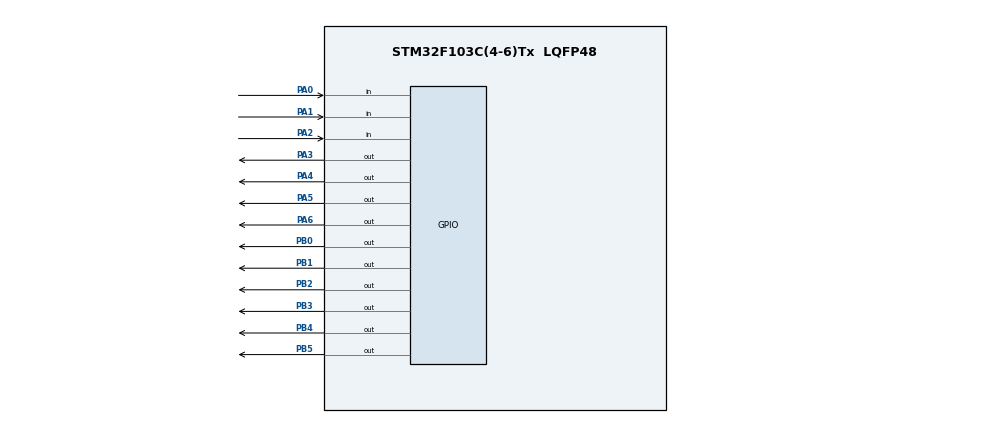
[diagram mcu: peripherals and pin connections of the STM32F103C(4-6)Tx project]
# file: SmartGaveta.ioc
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Mcu.Family=STM32F1
Mcu.Name=STM32F103C(4-6)Tx
Mcu.Package=LQFP48
NVIC.PriorityGroup=NVIC_PRIORITYGROUP_4
PA0-WKUP.GPIO_PuPd=GPIO_PULLDOWN
PA0-WKUP.Signal=GPIO_Input
PA1.GPIO_PuPd=GPIO_PULLDOWN
PA1.Signal=GPIO_Input
PA2.GPIO_PuPd=GPIO_PULLDOWN
PA2.Signal=GPIO_Input
PA3.Signal=GPIO_Output
PA4.Signal=GPIO_Output
PA5.Signal=GPIO_Output
PA6.Signal=GPIO_Output
PB0.Signal=GPIO_Output
PB1.Signal=GPIO_Output
PB2.Signal=GPIO_Output
PB3.Signal=GPIO_Output
PB4.Signal=GPIO_Output
PB5.Signal=GPIO_Output
ProjectManager.HeapSize=0x200
ProjectManager.StackSize=0x400
ProjectManager.TargetToolchain=STM32CubeIDE
RCC.APB1Freq_Value=8000000
RCC.APB2Freq_Value=8000000
VP_SYS_VS_ND.Mode=No_Debug
board=custom

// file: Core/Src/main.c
/* USER CODE BEGIN Header */
/**
 ******************************************************************************
 * @file           : main.c
 * @brief          : Main program body
 ******************************************************************************
 * @attention
 *
 * <h2><center>&copy; Copyright (c) 2021 STMicroelectronics.
 * All rights reserved.</center></h2>
 *
 * This software component is licensed by ST under BSD 3-Clause license,
 * the "License"; You may not use this file except in compliance with the
 * License. You may obtain a copy of the License at:
 *                        opensource.org/licenses/BSD-3-Clause
 *
 ******************************************************************************
 */
/* USER CODE END Header */
#include "main.h"

/* USER CODE BEGIN Includes */
#include <string.h>
/* USER CODE END Includes */

void SystemClock_Config(void);
static void MX_GPIO_Init(void);

/* USER CODE BEGIN 0 */
char nome_objeto[25];
char objetos[16][25];
int objetos_referencia[16];
char entrada_pergunta = 'p';

int readBit(unsigned char x, int bit) {
	unsigned char mask = (0x01 << bit);
	if ((x & mask) == 0x00) {
		return 0;
	} else {
		return 1;
	}
}

void setABCD(int x) {
	HAL_GPIO_WritePin(GPIOB_BASE, GPIO_PIN_0, readBit(x, 0));
	HAL_GPIO_WritePin(GPIOB_BASE, GPIO_PIN_1, readBit(x, 1));
	HAL_GPIO_WritePin(GPIOB_BASE, GPIO_PIN_2, readBit(x, 2));
	HAL_GPIO_WritePin(GPIOB_BASE, GPIO_PIN_3, readBit(x, 3));
}

void setABteclado(int x) {
	HAL_GPIO_WritePin(GPIOA_BASE, GPIO_PIN_4, readBit(x, 0));
	HAL_GPIO_WritePin(GPIOA_BASE, GPIO_PIN_5, readBit(x, 1));
}

void guardar_objeto(char *x, int pos) {
	strcpy(objetos[pos], x);
	objetos_referencia[pos] = 1;
}

void retirar_objeto(int pos) {
	memset(objetos[pos], 0, strlen(objetos[0]));
	objetos_referencia[pos] = 0;
}

void mostrar_posicoes_disponiveis() {
	for (int i = 0; i < 16; i++) {
		if (objetos_referencia[i] == 0) {
			HAL_GPIO_WritePin(GPIOB_BASE, GPIO_PIN_5, GPIO_PIN_SET);
			setABCD(i);
			HAL_Delay(100);
			HAL_GPIO_WritePin(GPIOB_BASE, GPIO_PIN_5, GPIO_PIN_RESET);
		}
	}

}

void atualizar_objetos() {
	for (int i = 0; i < 4; i++) {
		uint16_t mask = 0x01 << 11;
		HAL_GPIO_WritePin(GPIOA_BASE, mask << i, 0);
	}
	for (int i = 0; i < 4; i++) {
		uint16_t mask = 0x01 << 11;
		HAL_GPIO_WritePin(GPIOA_BASE, mask << i, 1);
		for (int j = 0; j < 4; j++) {
			mask = 0x01 << 7;
			int apertado = HAL_GPIO_ReadPin(GPIOA_BASE, mask << j);
			if (apertado == 1) {
				if (objetos_referencia[4 * i + j] == 0) {
					guardar_objeto("Desconhecido", (4 * i + j));
					objetos_referencia[4 * i + j] = 1;
				} else {
					//guardar_objeto(nome_objeto, (4 * i + j));
				}
			} else {
				if (objetos_referencia[4 * i + j] == 1) {
					retirar_objeto(4 * i + j);
					objetos_referencia[4 * i + j] = 0;
				}
			}
		}
		HAL_GPIO_WritePin(GPIOA_BASE, mask << i, 0);
	}
}

void esperar_entrada(char *entrada) {
	entrada_pergunta = 'a';

	setABCD(0);
	HAL_GPIO_WritePin(GPIOB_BASE, GPIO_PIN_4, SET);
	HAL_GPIO_WritePin(GPIOB_BASE, GPIO_PIN_5, SET);
	HAL_Delay(100);
	HAL_GPIO_WritePin(GPIOB_BASE, GPIO_PIN_4, RESET);
	HAL_GPIO_WritePin(GPIOB_BASE, GPIO_PIN_5, RESET);

	setABCD(1);
	HAL_GPIO_WritePin(GPIOB_BASE, GPIO_PIN_4, SET);
	HAL_GPIO_WritePin(GPIOB_BASE, GPIO_PIN_5, SET);
	HAL_Delay(100);
	HAL_GPIO_WritePin(GPIOB_BASE, GPIO_PIN_4, RESET);
	HAL_GPIO_WritePin(GPIOB_BASE, GPIO_PIN_5, RESET);

	while (entrada_pergunta == 'a') {
		HAL_Delay(2000);
		entrada_pergunta = 's';
	}
	if (entrada_pergunta == 's') {
		//atualizar_objetos();
		mostrar_posicoes_disponiveis();
	} else {
		memset(nome_objeto, 0, strlen(nome_objeto));
		entrada_pergunta = 'p';
	}

}

void encontrar_objeto(char *entrada) {
	int encontrou = 0;
	for (int i = 0; i < 16; i++) {
		setABCD(i);
		if (strcmp(entrada, objetos[i]) == 0) {
			HAL_GPIO_WritePin(GPIOB_BASE, GPIO_PIN_5, SET);
			HAL_Delay(100);
			HAL_GPIO_WritePin(GPIOB_BASE, GPIO_PIN_5, RESET);
			encontrou = 1;
		} else {
			HAL_GPIO_WritePin(GPIOB_BASE, GPIO_PIN_4, SET);
			HAL_Delay(100);
			HAL_GPIO_WritePin(GPIOB_BASE, GPIO_PIN_4, RESET);
		}
	}

	if (encontrou == 0) {
		esperar_entrada(entrada);
	}
}

void ler_teclado() {

}

/* USER CODE END 0 */

int main(void) {

	/* MCU Configuration--------------------------------------------------------*/

	/* Reset of all peripherals, Initializes the Flash interface and the Systick. */
	HAL_Init();

	/* Configure the system clock */
	SystemClock_Config();

	/* Initialize all configured peripherals */
	MX_GPIO_Init();
	/* USER CODE BEGIN 2 */

	//DEMO ENCONTRAR OBJETO
	for (int i = 0; i < 16; i++) {
		strcpy(objetos[i], "null");
	}

	for (int i = 0; i < 16; i++) {
		objetos_referencia[i] = 0;
	}

	guardar_objeto("Lápis", 4);
	guardar_objeto("Caderno", 6);
	guardar_objeto("Caneta", 8);
	guardar_objeto("Borracha", 10);
	guardar_objeto("Grampeador", 7);
	guardar_objeto("Máscara", 1);
	guardar_objeto("Garrafa", 2);
	guardar_objeto("Biscoito", 15);

	strcpy(nome_objeto, "Caderno");
	encontrar_objeto("Caderno");

//DEMO NÃO ENCONTRAR OBJETO E CADASTRAR

	for (int i = 0; i < 16; i++) {
		strcpy(objetos[i], "null");
	}

	for (int i = 0; i < 16; i++) {
		objetos_referencia[i] = 0;
	}

	guardar_objeto("Lápis", 4);
	guardar_objeto("Caderno", 6);
	guardar_objeto("Caneta", 8);
	guardar_objeto("Borracha", 10);
	guardar_objeto("Grampeador", 4);
	guardar_objeto("Máscara", 6);
	guardar_objeto("Garrafa", 8);
	guardar_objeto("Biscoito", 10);

	strcpy(nome_objeto, "Celular");
	encontrar_objeto(nome_objeto);

	/* USER CODE END 2 */

	/* Infinite loop */
	while (1) {

	}
}

void SystemClock_Config(void) {
	RCC_OscInitTypeDef RCC_OscInitStruct = { 0 };
	RCC_ClkInitTypeDef RCC_ClkInitStruct = { 0 };

	/** Initializes the RCC Oscillators according to the specified parameters
	 * in the RCC_OscInitTypeDef structure.
	 */
	RCC_OscInitStruct.OscillatorType = RCC_OSCILLATORTYPE_HSI;
	RCC_OscInitStruct.HSIState = RCC_HSI_ON;
	RCC_OscInitStruct.HSICalibrationValue = RCC_HSICALIBRATION_DEFAULT;
	RCC_OscInitStruct.PLL.PLLState = RCC_PLL_NONE;
	if (HAL_RCC_OscConfig(&RCC_OscInitStruct) != HAL_OK) {
		Error_Handler();
	}
	/** Initializes the CPU, AHB and APB buses clocks
	 */
	RCC_ClkInitStruct.ClockType = RCC_CLOCKTYPE_HCLK | RCC_CLOCKTYPE_SYSCLK
			| RCC_CLOCKTYPE_PCLK1 | RCC_CLOCKTYPE_PCLK2;
	RCC_ClkInitStruct.SYSCLKSource = RCC_SYSCLKSOURCE_HSI;
	RCC_ClkInitStruct.AHBCLKDivider = RCC_SYSCLK_DIV1;
	RCC_ClkInitStruct.APB1CLKDivider = RCC_HCLK_DIV1;
	RCC_ClkInitStruct.APB2CLKDivider = RCC_HCLK_DIV1;

	if (HAL_RCC_ClockConfig(&RCC_ClkInitStruct, FLASH_LATENCY_0) != HAL_OK) {
		Error_Handler();
	}
}

static void MX_GPIO_Init(void) {
	GPIO_InitTypeDef GPIO_InitStruct = { 0 };

	/* GPIO Ports Clock Enable */
	__HAL_RCC_GPIOA_CLK_ENABLE();
	__HAL_RCC_GPIOB_CLK_ENABLE();

	/*Configure GPIO pin Output Level */
	HAL_GPIO_WritePin(GPIOA, GPIO_PIN_3 | GPIO_PIN_4 | GPIO_PIN_5 | GPIO_PIN_6,
			GPIO_PIN_RESET);

	/*Configure GPIO pin Output Level */
	HAL_GPIO_WritePin(GPIOB,
	GPIO_PIN_0 | GPIO_PIN_1 | GPIO_PIN_2 | GPIO_PIN_3 | GPIO_PIN_4 | GPIO_PIN_5,
			GPIO_PIN_RESET);

	/*Configure GPIO pins : PA0 PA1 PA2 */
	GPIO_InitStruct.Pin = GPIO_PIN_0 | GPIO_PIN_1 | GPIO_PIN_2;
	GPIO_InitStruct.Mode = GPIO_MODE_INPUT;
	GPIO_InitStruct.Pull = GPIO_PULLDOWN;
	HAL_GPIO_Init(GPIOA, &GPIO_InitStruct);

	/*Configure GPIO pins : PA3 PA4 PA5 PA6 */
	GPIO_InitStruct.Pin = GPIO_PIN_3 | GPIO_PIN_4 | GPIO_PIN_5 | GPIO_PIN_6;
	GPIO_InitStruct.Mode = GPIO_MODE_OUTPUT_PP;
	GPIO_InitStruct.Pull = GPIO_NOPULL;
	GPIO_InitStruct.Speed = GPIO_SPEED_FREQ_LOW;
	HAL_GPIO_Init(GPIOA, &GPIO_InitStruct);

	/*Configure GPIO pins : PB0 PB1 PB2 PB3
	 PB4 PB5 */
	GPIO_InitStruct.Pin = GPIO_PIN_0 | GPIO_PIN_1 | GPIO_PIN_2 | GPIO_PIN_3
			| GPIO_PIN_4 | GPIO_PIN_5;
	GPIO_InitStruct.Mode = GPIO_MODE_OUTPUT_PP;
	GPIO_InitStruct.Pull = GPIO_NOPULL;
	GPIO_InitStruct.Speed = GPIO_SPEED_FREQ_LOW;
	HAL_GPIO_Init(GPIOB, &GPIO_InitStruct);

}

void Error_Handler(void) {
	__disable_irq();
	while (1) {
	}
}

/************************ (C) COPYRIGHT STMicroelectronics *****END OF FILE****/
